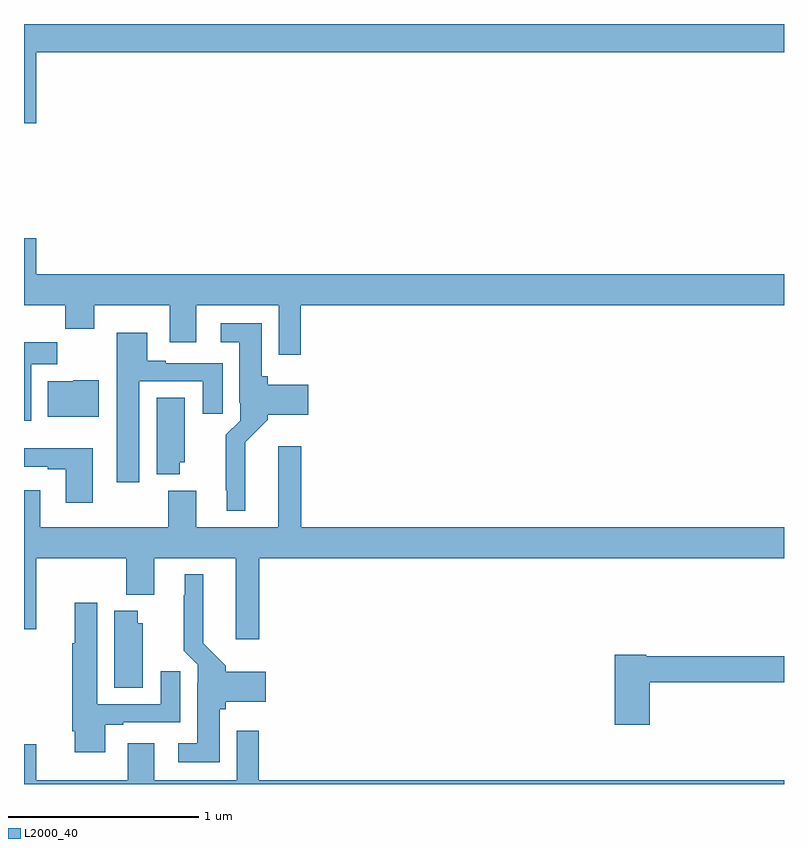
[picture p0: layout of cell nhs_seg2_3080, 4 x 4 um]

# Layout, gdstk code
import gdstk
lib = gdstk.Library(unit=1e-6, precision=1e-09)
def P(c, l, *ps):  # polygons
    for p in ps: c.add(gdstk.Polygon(p, *l))
L2000_40 = (2000, 40)

nhs_seg2_3080 = lib.new_cell('nhs_seg2_3080')
P(nhs_seg2_3080, L2000_40, [(273.064,631.652),(277,631.652),(277,631.8),(273,631.8),(273,631.278),(273.064,631.278)],
  [(274.457,630.32),(277,630.32),(277,630.484),(273.064,630.484),(273.064,630.673),(273,630.673),(273,630.32),(273.217,630.32),(273.217,630.196),(273.369,630.196),(273.369,630.32),(273.767,630.32),(273.767,630.126),(273.907,630.126),(273.907,630.32),(274.341,630.32),(274.341,630.06),(274.457,630.06)],
  [(274.165,629.6),(274.283,629.718),(274.283,629.744),(274.495,629.744),(274.495,629.902),(274.283,629.902),(274.283,629.946),(274.252,629.946),(274.252,630.226),(274.035,630.226),(274.035,630.125),(274.133,630.125),(274.133,629.806),(274.137,629.806),(274.137,629.712),(274.063,629.638),(274.063,629.347),(274.067,629.347),(274.067,629.237),(274.165,629.237)],
  [(273.607,629.919),(273.941,629.919),(273.941,629.748),(274.045,629.748),(274.045,630.015),(273.745,630.015),(273.745,630.028),(273.649,630.028),(273.649,630.175),(273.488,630.175),(273.488,629.388),(273.607,629.388)],
  [(273.037,630.008),(273.176,630.008),(273.176,630.126),(273,630.126),(273,629.712),(273.037,629.712)],
  [(273.394,629.926),(273.258,629.926),(273.258,629.92),(273.125,629.92),(273.125,629.732),(273.394,629.732)],
  [(273.82,629.493),(273.847,629.493),(273.847,629.834),(273.698,629.834),(273.698,629.429),(273.82,629.429)],
  [(274.238,628.988),(277,628.988),(277,629.152),(274.46,629.152),(274.46,629.578),(274.337,629.578),(274.337,629.152),(273.907,629.152),(273.907,629.344),(273.76,629.344),(273.76,629.152),(273.085,629.152),(273.085,629.347),(273,629.347),(273,628.614),(273.064,628.614),(273.064,628.988),(273.538,628.988),(273.538,628.796),(273.685,628.796),(273.685,628.988),(274.115,628.988),(274.115,628.563),(274.238,628.563)],
  [(273.361,629.566),(273,629.566),(273,629.469),(273.125,629.469),(273.125,629.457),(273.221,629.457),(273.221,629.28),(273.361,629.28)],
  [(274.03,628.194),(274.061,628.194),(274.061,628.232),(274.273,628.232),(274.273,628.39),(274.061,628.39),(274.061,628.422),(273.943,628.54),(273.943,628.903),(273.845,628.903),(273.845,628.793),(273.841,628.793),(273.841,628.502),(273.915,628.428),(273.915,628.334),(273.911,628.334),(273.911,628.015),(273.813,628.015),(273.813,627.914),(274.03,627.914)],
  [(273.427,628.113),(273.523,628.113),(273.523,628.125),(273.823,628.125),(273.823,628.393),(273.719,628.393),(273.719,628.221),(273.385,628.221),(273.385,628.753),(273.266,628.753),(273.266,628.54),(273.254,628.54),(273.254,628.078),(273.266,628.078),(273.266,627.966),(273.427,627.966)],
  [(273.625,628.647),(273.598,628.647),(273.598,628.711),(273.476,628.711),(273.476,628.306),(273.625,628.306)],
  [(276.293,628.336),(277,628.336),(277,628.472),(276.276,628.472),(276.276,628.48),(276.11,628.48),(276.11,628.113),(276.293,628.113)],
  [(277,627.82),(274.235,627.82),(274.235,628.081),(274.119,628.081),(274.119,627.82),(273.685,627.82),(273.685,628.015),(273.545,628.015),(273.545,627.82),(273.064,627.82),(273.064,628.009),(273,628.009),(273,627.8),(277,627.8)])

lib.write_gds('nhs_seg2_3080.gds')
